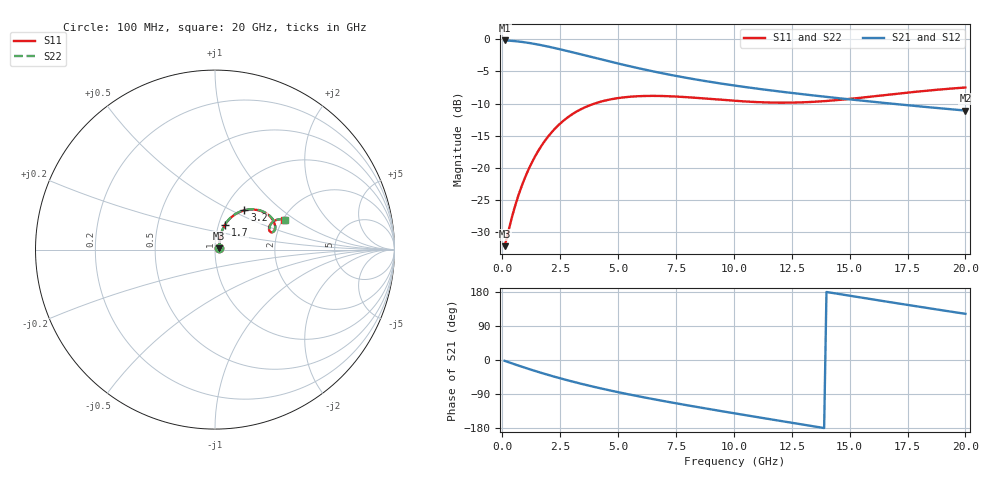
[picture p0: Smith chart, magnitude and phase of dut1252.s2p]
! Touchstone file exported from HFSS 2024.1.0
!  File:  C:/UserFiles/LocalFiles/RDL_TSV_Batchsim/temp_RDL_TSV_1252_1780270209.aedt
!  Generated:  07:43:24 AM Jun  1, 2026
!  Design:  RDL_TSV
!  Project:  temp_RDL_TSV_1252_1780270209
!  Setup:  Setup1
!  Solution:  Sweep
! Variables:
!  dtsv = 12.33um
!  hbump = 3um
!  htsv = 53.2um
!  ldown = 547.19um
!  lrdl = 522.47um
!  p = 40
!  p1 = 58.79um
!  rhole = 10um
!  subl = 3731.45um
!  t = 450um
!  tdown = 2.35um
!  trdl = 4.93um
!  viad = 10um
!  wdown = 16.91um
!  wrdl = 17.21um
!  xbump = 18um
# GHz S MA R 50.000000
! Terminal data exported
! Port[1] = TM1_1_T1
! Port[2] = TM1_4_T1
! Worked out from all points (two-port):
!   200 points, 100 MHz to 20 GHz, reference 50 ohm
!   highest |S21| = -0.21 dB at 100 MHz (marker M1); lowest = -11.1 dB at 20 GHz (marker M2)
!   |S21| within 3 dB of the highest: start of sweep to 4.335 GHz
!   lowest |S11| = -32.2 dB at 100 MHz (marker M3), VSWR 1.05, Z = 52.4 + j0.867 ohm
!   |S11| at or under -10 dB: start of sweep to 3.99 GHz
!   |S22| runs from -32.2 to -7.5 dB; largest |S21 - S12| = 6.7e-15
!   S11 on the Smith chart (normalised r, x): 100 MHz: 1.05, +0.02; 1.7 GHz: 1.07, +0.30; 3.2 GHz: 1.24, +0.59; 20 GHz: 2.04, +0.82
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0.1  0.02468 19.6  0.9764 -2.2  0.9764 -2.2  0.02468 19.6
! Gamma 0 0 0 0
! Port Impedance 50 0 50 0
0.5  0.04696 56.3  0.9664 -10.7  0.9664 -10.7  0.04696 56.4
0.8  0.06921 65.3  0.9535 -16.8  0.9535 -16.8  0.06922 65.4
1.2  0.1032 69.2  0.931 -24.8  0.931 -24.8  0.1033 69.3
1.7  0.1493 68.1  0.8963 -34.2  0.8963 -34.2  0.1496 68.3
2  0.1772 65.9  0.8734 -39.7  0.8734 -39.7  0.1776 66.0
2.4  0.2127 62.0  0.8416 -46.6  0.8416 -46.6  0.2133 62.2
2.8  0.245 57.6  0.8092 -53.2  0.8092 -53.2  0.2458 57.8
3.2  0.2733 53.1  0.777 -59.6  0.777 -59.6  0.2743 53.3
3.5  0.2916 49.8  0.7534 -64.1  0.7534 -64.1  0.2927 50.0
4.2  0.3249 42.5  0.7009 -74.2  0.7009 -74.2  0.3263 42.7
5.1  0.3505 34.5  0.6402 -86.2  0.6402 -86.2  0.3522 34.7
5.9  0.3606 28.8  0.5934 -96.0  0.5934 -96.0  0.3626 29.0
6.8  0.362 23.7  0.5482 -106.5  0.5482 -106.5  0.3642 23.9
8.4  0.3498 18.3  0.4845 -123.9  0.4845 -123.9  0.3523 18.4
10.1  0.3315 16.8  0.4342 -141.5  0.4342 -141.5  0.3341 17.0
11.7  0.3214 18.7  0.3976 -157.6  0.3976 -157.6  0.3241 18.8
13.4  0.3257 22.2  0.366 -174.6  0.366 -174.6  0.3282 22.2
15  0.3434 24.8  0.3406 169.6  0.3406 169.6  0.3458 24.8
16.7  0.3706 25.8  0.3169 153.1  0.3169 153.1  0.3729 25.8
18.3  0.3971 25.1  0.2972 137.8  0.2972 137.8  0.3995 25.1
20  0.4209 23.1  0.279 121.8  0.279 121.8  0.4234 23.1
